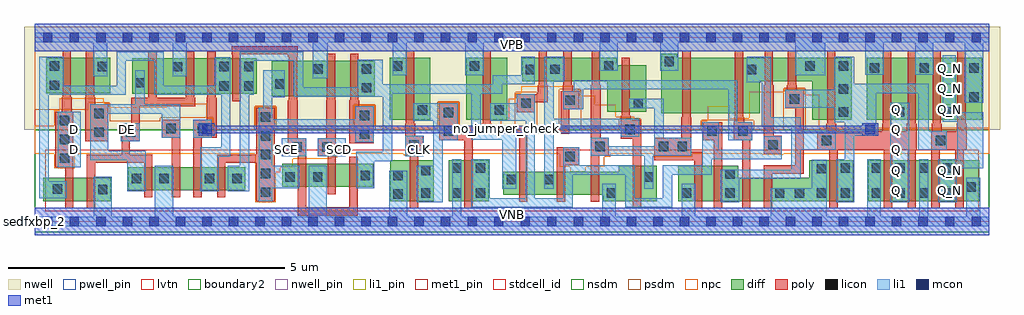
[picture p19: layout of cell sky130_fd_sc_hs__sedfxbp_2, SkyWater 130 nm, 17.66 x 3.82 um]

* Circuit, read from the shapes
.subckt sky130_fd_sc_hs__sedfxbp_2 CLK D DE Q Q_N SCD SCE VGND VNB VPB VPWR
XM1 n1 D n2 VNB sky130_fd_pr__nfet_01v8_lvt w=0.42 l=0.15
XM2 VGND DE n1 VNB sky130_fd_pr__nfet_01v8_lvt w=0.42 l=0.15
XM3 VGND DE n3 VNB sky130_fd_pr__nfet_01v8_lvt w=0.42 l=0.15
XM4 n4 n3 VGND VNB sky130_fd_pr__nfet_01v8_lvt w=0.42 l=0.15
XM5 n2 n5 n4 VNB sky130_fd_pr__nfet_01v8_lvt w=0.42 l=0.15
XM6 n6 n7 n2 VNB sky130_fd_pr__nfet_01v8_lvt w=0.42 l=0.15
XM7 VGND SCE n7 VNB sky130_fd_pr__nfet_01v8_lvt w=0.42 l=0.15
XM8 n8 SCD VGND VNB sky130_fd_pr__nfet_01v8_lvt w=0.42 l=0.15
XM9 n6 SCE n8 VNB sky130_fd_pr__nfet_01v8_lvt w=0.42 l=0.15
XM10 n9 CLK VGND VNB sky130_fd_pr__nfet_01v8_lvt w=0.74 l=0.15
XM11 n10 n9 VGND VNB sky130_fd_pr__nfet_01v8_lvt w=0.74 l=0.15
XM12 n11 n9 n6 VNB sky130_fd_pr__nfet_01v8_lvt w=0.42 l=0.15
XM13 n12 n10 n11 VNB sky130_fd_pr__nfet_01v8_lvt w=0.42 l=0.15
XM14 VGND n13 n12 VNB sky130_fd_pr__nfet_01v8_lvt w=0.42 l=0.15
XM15 n13 n11 VGND VNB sky130_fd_pr__nfet_01v8_lvt w=0.64 l=0.15
XM16 n14 n13 VGND VNB sky130_fd_pr__nfet_01v8_lvt w=0.64 l=0.15
XM17 n15 n10 n14 VNB sky130_fd_pr__nfet_01v8_lvt w=0.64 l=0.15
XM18 n16 n9 n15 VNB sky130_fd_pr__nfet_01v8_lvt w=0.42 l=0.15
XM19 VGND n5 n16 VNB sky130_fd_pr__nfet_01v8_lvt w=0.42 l=0.15
XM20 n5 n15 VGND VNB sky130_fd_pr__nfet_01v8_lvt w=0.74 l=0.15
XM21 Q n15 VGND VNB sky130_fd_pr__nfet_01v8_lvt w=0.74 l=0.15 m=2
XM22 Q_N n5 VGND VNB sky130_fd_pr__nfet_01v8_lvt w=0.74 l=0.15 m=2
XM23 n17 D n2 VPB sky130_fd_pr__pfet_01v8 w=0.64 l=0.15
XM24 VPWR n3 n17 VPB sky130_fd_pr__pfet_01v8 w=0.64 l=0.15
XM25 VPWR DE n3 VPB sky130_fd_pr__pfet_01v8 w=0.64 l=0.15
XM26 n18 DE VPWR VPB sky130_fd_pr__pfet_01v8 w=0.64 l=0.15
XM27 n2 n5 n18 VPB sky130_fd_pr__pfet_01v8 w=0.64 l=0.15
XM28 n6 SCE n2 VPB sky130_fd_pr__pfet_01v8 w=0.64 l=0.15
XM29 VPWR SCE n7 VPB sky130_fd_pr__pfet_01v8 w=0.64 l=0.15
XM30 n19 SCD VPWR VPB sky130_fd_pr__pfet_01v8 w=0.64 l=0.15
XM31 n6 n7 n19 VPB sky130_fd_pr__pfet_01v8 w=0.64 l=0.15
XM32 n9 CLK VPWR VPB sky130_fd_pr__pfet_01v8 w=1.12 l=0.15
XM33 n10 n9 VPWR VPB sky130_fd_pr__pfet_01v8 w=1.12 l=0.15
XM34 n11 n10 n6 VPB sky130_fd_pr__pfet_01v8 w=0.42 l=0.15
XM35 n20 n9 n11 VPB sky130_fd_pr__pfet_01v8 w=0.42 l=0.15
XM36 VPWR n13 n20 VPB sky130_fd_pr__pfet_01v8 w=0.42 l=0.15
XM37 n13 n11 VPWR VPB sky130_fd_pr__pfet_01v8 w=0.84 l=0.15
XM38 n21 n13 VPWR VPB sky130_fd_pr__pfet_01v8 w=1 l=0.15
XM39 n15 n9 n21 VPB sky130_fd_pr__pfet_01v8 w=1 l=0.15
XM40 n22 n10 n15 VPB sky130_fd_pr__pfet_01v8 w=0.42 l=0.15
XM41 VPWR n5 n22 VPB sky130_fd_pr__pfet_01v8 w=0.42 l=0.15
XM42 n5 n15 VPWR VPB sky130_fd_pr__pfet_01v8 w=1.12 l=0.15
XM43 Q n15 VPWR VPB sky130_fd_pr__pfet_01v8 w=1.12 l=0.15 m=2
XM44 Q_N n5 VPWR VPB sky130_fd_pr__pfet_01v8 w=1.12 l=0.15 m=2
.ends

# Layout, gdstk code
import gdstk
lib = gdstk.Library(unit=1e-6, precision=1e-09)
def R(c, l, rs):  # rectangles x0, y0, x1, y1
    for r in rs: c.add(gdstk.rectangle(r[:2], r[2:], *l))
def A(c, l, x, y, w, h, nx, ny, dx, dy):  # array of equal rectangles
    R(c, l, [(x+i*dx, y+j*dy, x+i*dx+w, y+j*dy+h) for i in range(nx) for j in range(ny)])
def P(c, l, *ps):  # polygons
    for p in ps: c.add(gdstk.Polygon(p, *l))
nwell_pin = (64, 16)
nwell = (64, 20)
diff = (65, 20)
poly = (66, 20)
licon = (66, 44)
li1_pin = (67, 16)
li1 = (67, 20)
mcon = (67, 44)
met1_pin = (68, 16)
met1 = (68, 20)
stdcell_id = (81, 4)
nsdm = (93, 44)
psdm = (94, 20)
npc = (95, 20)
pwell_pin = (122, 16)
lvtn = (125, 44)
boundary2 = (236, 0)

sky130_fd_sc_hs__sedfxbp = lib.new_cell('sky130_fd_sc_hs__sedfxbp_2')
R(sky130_fd_sc_hs__sedfxbp, nwell_pin, [(0,3.085,17.28,3.33)])
R(sky130_fd_sc_hs__sedfxbp, nwell, [(-0.19,1.66,17.47,3.52)])
R(sky130_fd_sc_hs__sedfxbp, diff, [(0.16,0.37,1.38,0.79), (6.435,0.37,7.225,1.11), (7.495,0.37,8.215,1.11), (15.085,0.37,17.095,1.11), (1.7,0.565,3.81,0.985), (4.48,0.625,6.13,1.045), (6.425,1.84,7.165,2.96), (7.815,1.84,8.555,2.96), (15.055,1.84,17.145,2.96), (4.295,2.265,6.155,2.905), (1.765,2.31,4.025,2.95), (0.215,2.32,1.375,2.96)])
P(sky130_fd_sc_hs__sedfxbp, diff, [(11.07,2.83),(10.535,2.83),(10.535,2.96),(8.825,2.96),(8.825,2.54),(10.36,2.54),(10.36,1.99),(11.07,1.99)],
  [(11.26,1.01),(10.575,1.01),(10.575,0.905),(8.485,0.905),(8.485,0.485),(10.29,0.485),(10.29,0.37),(11.26,0.37)],
  [(14.785,2.96),(11.63,2.96),(11.63,3.04),(11.34,3.04),(11.34,1.96),(13.12,1.96),(13.12,2.54),(14.075,2.54),(14.075,1.84),(14.785,1.84)],
  [(14.815,1.11),(14.015,1.11),(14.015,0.79),(12.73,0.79),(12.73,1.01),(11.65,1.01),(11.65,0.37),(14.815,0.37)])
P(sky130_fd_sc_hs__sedfxbp, poly, [(13.915,2.38),(13.795,2.38),(13.795,2.465),(13.78,2.465),(13.78,3.09),(13.63,3.09),(13.63,2.465),(13.615,2.465),(13.615,2.38),(13.585,2.38),(13.585,2.05),(13.765,2.05),(13.765,1.015),(13.195,1.015),(13.195,0.24),(13.345,0.24),(13.345,0.865),(13.915,0.865)],
  [(13.525,1.555),(13.375,1.555),(13.375,2.465),(13.36,2.465),(13.36,3.09),(13.21,3.09),(13.21,2.465),(13.195,2.465),(13.195,1.225),(13.525,1.225)],
  [(12.985,1.8),(12.84,1.8),(12.84,1.885),(12.825,1.885),(12.825,3.09),(12.675,3.09),(12.675,1.885),(12.66,1.885),(12.66,1.8),(12.655,1.8),(12.655,1.47),(12.805,1.47),(12.805,0.24),(12.955,0.24),(12.955,1.47),(12.985,1.47)],
  [(12.445,1.8),(12.095,1.8),(12.095,1.47),(12.295,1.47),(12.295,0.24),(12.445,0.24)],
  [(12.085,1.26),(11.885,1.26),(11.885,1.885),(11.87,1.885),(11.87,3.09),(11.72,3.09),(11.72,1.885),(11.705,1.885),(11.705,1.52),(11.215,1.52),(11.215,1.11),(11.935,1.11),(11.935,0.24),(12.085,0.24)],
  [(10.975,1.83),(10.79,1.83),(10.79,1.915),(10.775,1.915),(10.775,2.96),(10.625,2.96),(10.625,1.915),(10.61,1.915),(10.61,1.5),(10.825,1.5),(10.825,0.24),(10.975,0.24)],
  [(10.395,1.52),(10.245,1.52),(10.245,2.465),(10.23,2.465),(10.23,3.09),(10.08,3.09),(10.08,2.465),(10.065,2.465),(10.065,0.355),(10.215,0.355),(10.215,1.19),(10.395,1.19)],
  [(9.855,1.345),(9.45,1.345),(9.45,0.355),(9.6,0.355),(9.6,1.015),(9.855,1.015)],
  [(9.855,2.36),(9.735,2.36),(9.735,2.465),(9.72,2.465),(9.72,3.09),(9.57,3.09),(9.57,2.465),(9.555,2.465),(9.555,2.36),(9.525,2.36),(9.525,1.735),(8.275,1.735),(8.275,1.765),(8.26,1.765),(8.26,3.09),(8.11,3.09),(8.11,1.765),(8.095,1.765),(8.095,1.735),(7.655,1.735),(7.655,2.14),(7.325,2.14),(7.325,1.47),(7.78,1.47),(7.78,0.24),(7.93,0.24),(7.93,1.585),(8.77,1.585),(8.77,0.355),(8.92,0.355),(8.92,1.585),(9.675,1.585),(9.675,2.03),(9.855,2.03)],
  [(9.285,2.465),(9.27,2.465),(9.27,3.09),(9.12,3.09),(9.12,2.465),(9.105,2.465),(9.105,2.305),(8.725,2.305),(8.725,1.975),(9.055,1.975),(9.055,2.155),(9.285,2.155)],
  [(7.035,1.55),(6.885,1.55),(6.885,1.765),(6.87,1.765),(6.87,3.09),(6.72,3.09),(6.72,1.765),(6.705,1.765),(6.705,1.22),(6.79,1.22),(6.79,0.24),(6.94,0.24),(6.94,1.22),(7.035,1.22)],
  [(6.135,2.085),(5.875,2.085),(5.875,2.19),(5.86,2.19),(5.86,3.035),(5.71,3.035),(5.71,2.19),(5.695,2.19),(5.695,1.415),(6.135,1.415)],
  [(5.845,1.175),(5.695,1.175),(5.695,0.255),(4.915,0.255),(4.915,1.51),(4.765,1.51),(4.765,2.19),(4.75,2.19),(4.75,2.98),(4.765,2.98),(4.765,3.175),(3.565,3.175),(3.565,3.025),(3.58,3.025),(3.58,2.18),(3.73,2.18),(3.73,3.025),(4.585,3.025),(4.585,2.98),(4.6,2.98),(4.6,2.19),(4.585,2.19),(4.585,1.18),(4.765,1.18),(4.765,0.105),(5.845,0.105)],
  [(5.455,2.19),(5.44,2.19),(5.44,3.035),(5.29,3.035),(5.29,2.19),(5.275,2.19),(5.275,1.51),(5.125,1.51),(5.125,1.18),(5.305,1.18),(5.305,0.495),(5.455,0.495)],
  [(4.345,2.055),(4.015,2.055),(4.015,1.21),(3.305,1.21),(3.305,0.435),(3.455,0.435),(3.455,1.06),(4.015,1.06),(4.015,0.365),(4.345,0.365)],
  [(3.295,2.235),(3.28,2.235),(3.28,3.08),(3.13,3.08),(3.13,2.235),(3.115,2.235),(3.115,1.845),(2.875,1.845),(2.875,0.435),(3.025,0.435),(3.025,1.515),(3.295,1.515)],
  [(2.905,2.235),(2.89,2.235),(2.89,3.08),(2.74,3.08),(2.74,2.235),(2.21,2.235),(2.21,3.08),(2.06,3.08),(2.06,2.235),(1.755,2.235),(1.755,1.78),(1.575,1.78),(1.575,1.21),(0.945,1.21),(0.945,0.24),(1.095,0.24),(1.095,1.06),(1.985,1.06),(1.985,0.435),(2.135,0.435),(2.135,1.21),(1.725,1.21),(1.725,1.45),(1.905,1.45),(1.905,2.085),(2.905,2.085)],
  [(2.635,1.845),(2.305,1.845),(2.305,1.515),(2.485,1.515),(2.485,0.435),(2.635,0.435)],
  [(1.335,2.12),(1.095,2.12),(1.095,2.245),(1.08,2.245),(1.08,3.09),(0.93,3.09),(0.93,2.245),(0.915,2.245),(0.915,1.45),(1.335,1.45)],
  [(0.705,1.99),(0.675,1.99),(0.675,2.245),(0.66,2.245),(0.66,3.09),(0.51,3.09),(0.51,2.245),(0.495,2.245),(0.495,1.99),(0.375,1.99),(0.375,0.98),(0.555,0.98),(0.555,0.24),(0.705,0.24)],
  [(15.965,1.765),(15.95,1.765),(15.95,3.09),(15.8,3.09),(15.8,1.765),(15.785,1.765),(15.785,1.63),(15.515,1.63),(15.515,1.765),(15.5,1.765),(15.5,3.09),(15.35,3.09),(15.35,1.765),(15.335,1.765),(15.335,1.63),(14.505,1.63),(14.505,1.765),(14.49,1.765),(14.49,3.09),(14.34,3.09),(14.34,1.765),(14.325,1.765),(14.325,1.63),(14.165,1.63),(14.165,1.3),(14.38,1.3),(14.38,0.24),(14.53,0.24),(14.53,1.3),(15.37,1.3),(15.37,0.24),(15.52,0.24),(15.52,1.3),(15.8,1.3),(15.8,0.24),(15.95,0.24),(15.95,1.3),(15.965,1.3)],
  [(16.865,1.765),(16.85,1.765),(16.85,3.09),(16.7,3.09),(16.7,1.765),(16.685,1.765),(16.685,1.63),(16.415,1.63),(16.415,1.765),(16.4,1.765),(16.4,3.09),(16.25,3.09),(16.25,1.765),(16.235,1.765),(16.235,1.635),(16.23,1.635),(16.23,0.24),(16.38,0.24),(16.38,1.3),(16.66,1.3),(16.66,0.24),(16.81,0.24),(16.81,1.3),(16.865,1.3)])
A(sky130_fd_sc_hs__sedfxbp, licon, 15.145, 0.43, 0.17, 0.17, 4, 2, 0.43, 0.45)
A(sky130_fd_sc_hs__sedfxbp, licon, 4.095, 0.445, 0.17, 0.17, 1, 5, 0, 0.34)
A(sky130_fd_sc_hs__sedfxbp, licon, 0.455, 1.06, 0.17, 0.17, 1, 3, 0, 0.34)
A(sky130_fd_sc_hs__sedfxbp, licon, 14.555, 1.9, 0.17, 0.17, 1, 3, 0, 0.415)
A(sky130_fd_sc_hs__sedfxbp, licon, 15.115, 2.695, 0.17, 0.17, 3, 1, 0.9, 0)
R(sky130_fd_sc_hs__sedfxbp, licon, [(6.495,0.41,6.665,0.58), (6.995,0.43,7.165,0.6), (7.555,0.43,7.725,0.6), (7.985,0.43,8.155,0.6), (10.35,0.43,10.52,0.6), (11.71,0.43,11.88,0.6), (12.5,0.43,12.67,0.6), (13.4,0.43,13.57,0.6), (13.76,0.43,13.93,0.6), (14.155,0.43,14.325,0.6), (14.585,0.43,14.755,0.6), (1.15,0.495,1.32,0.665), (0.33,0.5,0.5,0.67), (16.865,0.54,17.035,0.71), (8.545,0.675,8.715,0.845), (9.225,0.675,9.395,0.845), (1.76,0.69,1.93,0.86), (2.26,0.69,2.43,0.86), (3.08,0.69,3.25,0.86), (3.58,0.69,3.75,0.86), (4.54,0.72,4.71,0.89), (5.04,0.72,5.21,0.89), (11.03,0.72,11.2,0.89), (5.9,0.75,6.07,0.92), (6.495,0.75,6.665,0.92), (12.5,0.77,12.67,0.94), (6.995,0.84,7.165,1.01), (14.155,0.87,14.325,1.04), (7.555,0.88,7.725,1.05), (7.985,0.88,8.155,1.05), (14.585,0.88,14.755,1.05), (9.605,1.095,9.775,1.265), (4.665,1.26,4.835,1.43), (5.205,1.26,5.375,1.43), (10.145,1.27,10.315,1.44), (11.295,1.27,11.465,1.44), (11.635,1.27,11.805,1.44), (6.785,1.3,6.955,1.47), (13.275,1.305,13.445,1.475), (14.245,1.38,14.415,1.55), (16.31,1.38,16.48,1.55), (5.885,1.495,6.055,1.665), (1.085,1.53,1.255,1.7), (1.655,1.53,1.825,1.7), (7.405,1.55,7.575,1.72), (12.175,1.55,12.345,1.72), (12.735,1.55,12.905,1.72), (10.69,1.58,10.86,1.75), (2.385,1.595,2.555,1.765), (2.955,1.595,3.125,1.765), (5.885,1.835,6.055,2.005), (1.085,1.87,1.255,2.04), (7.405,1.89,7.575,2.06), (15.565,1.9,15.735,2.07), (16.465,1.9,16.635,2.07), (6.935,1.935,7.105,2.105), (8.325,1.935,8.495,2.105), (10.84,2.05,11.01,2.22), (8.805,2.055,8.975,2.225), (9.605,2.11,9.775,2.28), (13.665,2.13,13.835,2.3), (16.915,2.165,17.085,2.335), (5.925,2.335,6.095,2.505), (3.345,2.37,3.515,2.54), (3.795,2.37,3.965,2.54), (0.275,2.38,0.445,2.55), (4.355,2.405,4.525,2.575), (1.825,2.425,1.995,2.595), (8.885,2.665,9.055,2.835), (12.89,2.665,13.06,2.835), (9.335,2.67,9.505,2.84), (5.045,2.675,5.215,2.845), (5.925,2.675,6.095,2.845), (2.505,2.715,2.675,2.885), (1.145,2.72,1.315,2.89), (3.345,2.72,3.515,2.89), (3.795,2.72,3.965,2.89), (0.275,2.73,0.445,2.9), (6.485,2.73,6.655,2.9), (7.875,2.73,8.045,2.9), (10.305,2.73,10.475,2.9), (13.95,2.73,14.12,2.9), (11.4,2.81,11.57,2.98)])
A(sky130_fd_sc_hs__sedfxbp, li1_pin, 15.515, 0.47, 0.17, 0.17, 1, 5, 0, 0.37)
A(sky130_fd_sc_hs__sedfxbp, li1_pin, 16.475, 1.95, 0.17, 0.17, 1, 3, 0, 0.37)
R(sky130_fd_sc_hs__sedfxbp, li1_pin, [(16.475,0.47,16.645,0.64), (16.475,0.84,16.645,1.01), (0.635,1.21,0.805,1.38), (4.475,1.21,4.645,1.38), (5.435,1.21,5.605,1.38), (6.875,1.21,7.045,1.38), (0.635,1.58,0.805,1.75), (1.595,1.58,1.765,1.75)])
R(sky130_fd_sc_hs__sedfxbp, li1, [(15.485,0.35,15.825,2.15), (0.425,0.98,0.835,1.99), (4.475,1.18,4.915,1.51), (5.125,1.18,5.635,1.51), (6.705,1.18,7.045,1.55), (1.565,1.45,1.905,1.78), (2.875,1.515,3.205,1.845)])
P(sky130_fd_sc_hs__sedfxbp, li1, [(17.165,1.975),(16.665,1.975),(16.665,3.01),(16.435,3.01),(16.435,1.805),(16.7,1.805),(16.7,1.13),(16.355,1.13),(16.355,0.35),(16.685,0.35),(16.685,0.96),(17.165,0.96)],
  [(16.51,1.635),(16.185,1.635),(16.185,2.49),(14.835,2.49),(14.835,2.98),(14.475,2.98),(14.475,2.38),(13.585,2.38),(13.585,2.055),(14.475,2.055),(14.475,1.8),(14.665,1.8),(14.665,1.13),(14.505,1.13),(14.505,0.35),(14.835,0.35),(14.835,1.55),(15.235,1.55),(15.235,2.32),(15.995,2.32),(15.995,1.3),(16.51,1.3)],
  [(2.635,2.12),(1.995,2.12),(1.995,2.735),(1.825,2.735),(1.825,2.12),(1.005,2.12),(1.005,1.11),(1.68,1.11),(1.68,0.545),(2.01,0.545),(2.01,1.28),(1.335,1.28),(1.335,1.95),(2.305,1.95),(2.305,1.515),(2.635,1.515)],
  [(3.545,2.97),(3.265,2.97),(3.265,2.46),(2.335,2.46),(2.335,3.075),(1.485,3.075),(1.485,2.46),(0.525,2.46),(0.525,2.98),(0.085,2.98),(0.085,0.42),(0.58,0.42),(0.58,0.73),(0.255,0.73),(0.255,2.29),(1.655,2.29),(1.655,2.905),(2.165,2.905),(2.165,2.29),(3.375,2.29),(3.375,1.345),(3,1.345),(3,0.545),(3.33,0.545),(3.33,1.175),(3.545,1.175)],
  [(6.135,2.085),(5.805,2.085),(5.805,1.85),(4.305,1.85),(4.305,2.245),(4.525,2.245),(4.525,2.735),(4.135,2.735),(4.135,2.055),(4.055,2.055),(4.055,0.365),(4.305,0.365),(4.305,0.605),(4.79,0.605),(4.79,1.01),(4.305,1.01),(4.305,1.68),(5.805,1.68),(5.805,1.43),(6.135,1.43)],
  [(7.655,2.14),(6.855,2.14),(6.855,1.82),(7.215,1.82),(7.215,1.01),(6.915,1.01),(6.915,0.35),(7.385,0.35),(7.385,1.47),(7.655,1.47)],
  [(17.28,0.085),(17.115,0.085),(17.115,0.79),(16.855,0.79),(16.855,0.085),(16.175,0.085),(16.175,1.13),(16.005,1.13),(16.005,0.085),(15.315,0.085),(15.315,1.13),(15.065,1.13),(15.065,0.085),(14.335,0.085),(14.335,1.12),(14.065,1.12),(14.065,0.6),(13.32,0.6),(13.32,0.085),(11.96,0.085),(11.96,0.68),(11.71,0.68),(11.71,0.085),(10.52,0.085),(10.52,0.68),(10.27,0.68),(10.27,0.085),(7.725,0.085),(7.725,1.13),(7.555,1.13),(7.555,0.085),(6.745,0.085),(6.745,0.92),(6.415,0.92),(6.415,0.085),(5.29,0.085),(5.29,1.01),(4.96,1.01),(4.96,0.085),(2.51,0.085),(2.51,1.005),(2.18,1.005),(2.18,0.085),(1.4,0.085),(1.4,0.81),(1.07,0.81),(1.07,0.085),(0,0.085),(0,-0.085),(17.28,-0.085)],
  [(9.055,2.98),(8.805,2.98),(8.805,2.65),(8.295,2.65),(8.295,2.48),(6.305,2.48),(6.305,2.925),(5.845,2.925),(5.845,2.425),(4.865,2.425),(4.865,3.075),(3.715,3.075),(3.715,1.005),(3.5,1.005),(3.5,0.545),(3.885,0.545),(3.885,2.29),(3.965,2.29),(3.965,2.905),(4.695,2.905),(4.695,2.255),(6.305,2.255),(6.305,1.26),(5.82,1.26),(5.82,0.605),(6.15,0.605),(6.15,1.09),(6.475,1.09),(6.475,2.31),(7.905,2.31),(7.905,1.48),(8.465,1.48),(8.465,0.595),(8.715,0.595),(8.715,1.65),(8.075,1.65),(8.075,2.31),(8.465,2.31),(8.465,2.48),(9.055,2.48)],
  [(10.94,1.86),(9.395,1.86),(9.395,2.53),(9.585,2.53),(9.585,2.98),(9.225,2.98),(9.225,0.595),(9.395,0.595),(9.395,1.69),(10.61,1.69),(10.61,1.53),(10.94,1.53)],
  [(11.885,1.52),(11.385,1.52),(11.385,2.22),(10.76,2.22),(10.76,2.05),(11.215,2.05),(11.215,1.36),(10.395,1.36),(10.395,1.52),(10.065,1.52),(10.065,1.19),(11.03,1.19),(11.03,0.595),(11.2,0.595),(11.2,1.19),(11.885,1.19)],
  [(12.985,1.8),(12.72,1.8),(12.72,2.56),(9.755,2.56),(9.755,2.36),(9.565,2.36),(9.565,2.03),(9.925,2.03),(9.925,2.39),(12.55,2.39),(12.55,1.47),(12.985,1.47)],
  [(13.525,1.545),(13.195,1.545),(13.195,1.3),(12.38,1.3),(12.38,1.8),(12.08,1.8),(12.08,1.02),(11.37,1.02),(11.37,0.425),(10.86,0.425),(10.86,1.02),(9.855,1.02),(9.855,1.345),(9.565,1.345),(9.565,0.425),(9.055,0.425),(9.055,2.305),(8.725,2.305),(8.725,2.14),(8.245,2.14),(8.245,1.82),(8.885,1.82),(8.885,0.425),(8.235,0.425),(8.235,1.13),(7.905,1.13),(7.905,0.255),(9.735,0.255),(9.735,0.85),(10.69,0.85),(10.69,0.255),(11.54,0.255),(11.54,0.85),(12.25,0.85),(12.25,1.13),(13.525,1.13)],
  [(14.495,1.63),(13.865,1.63),(13.865,1.885),(13.325,1.885),(13.325,2.98),(12.89,2.98),(12.89,2.52),(13.155,2.52),(13.155,1.715),(13.695,1.715),(13.695,0.94),(12.42,0.94),(12.42,0.35),(12.75,0.35),(12.75,0.77),(13.865,0.77),(13.865,1.3),(14.495,1.3)],
  [(17.28,3.415),(0,3.415),(0,3.245),(1.065,3.245),(1.065,2.63),(1.315,2.63),(1.315,3.245),(2.505,3.245),(2.505,2.63),(2.755,2.63),(2.755,3.245),(5.035,3.245),(5.035,2.595),(5.305,2.595),(5.305,3.245),(6.485,3.245),(6.485,2.65),(6.735,2.65),(6.735,3.245),(7.795,3.245),(7.795,2.65),(8.125,2.65),(8.125,3.245),(10.225,3.245),(10.225,2.73),(10.555,2.73),(10.555,3.245),(11.32,3.245),(11.32,2.73),(11.65,2.73),(11.65,3.245),(13.765,3.245),(13.765,2.65),(14.305,2.65),(14.305,3.245),(15.035,3.245),(15.035,2.66),(15.365,2.66),(15.365,3.245),(15.935,3.245),(15.935,2.66),(16.265,2.66),(16.265,3.245),(16.835,3.245),(16.835,2.145),(17.165,2.145),(17.165,3.245),(17.28,3.245)])
A(sky130_fd_sc_hs__sedfxbp, mcon, 0.155, -0.085, 0.17, 0.17, 36, 2, 0.48, 3.33)
R(sky130_fd_sc_hs__sedfxbp, mcon, [(3.035,1.58,3.205,1.75), (15.035,1.58,15.205,1.75)])
R(sky130_fd_sc_hs__sedfxbp, met1_pin, [(0,0,17.28,0.245), (0,3.085,17.28,3.33)])
R(sky130_fd_sc_hs__sedfxbp, met1, [(0,-0.245,17.28,0.245), (0,3.085,17.28,3.575)])
P(sky130_fd_sc_hs__sedfxbp, met1, [(15.265,1.78),(14.975,1.78),(14.975,1.735),(3.265,1.735),(3.265,1.78),(2.975,1.78),(2.975,1.55),(3.265,1.55),(3.265,1.595),(14.975,1.595),(14.975,1.55),(15.265,1.55)])
R(sky130_fd_sc_hs__sedfxbp, stdcell_id, [(0,0,17.28,3.33)])
R(sky130_fd_sc_hs__sedfxbp, nsdm, [(0,-0.19,17.28,1.66)])
P(sky130_fd_sc_hs__sedfxbp, psdm, [(17.28,3.52),(0,3.52),(0,2.02),(0.975,2.02),(0.975,2.15),(1.365,2.15),(1.365,1.81),(2.275,1.81),(2.275,1.875),(3.235,1.875),(3.235,1.66),(3.985,1.66),(3.985,2.085),(4.375,2.085),(4.375,1.66),(5.775,1.66),(5.775,2.115),(6.165,2.115),(6.165,1.66),(7.295,1.66),(7.295,2.17),(7.685,2.17),(7.685,1.66),(8.695,1.66),(8.695,2.335),(9.085,2.335),(9.085,1.66),(9.495,1.66),(9.495,2.39),(9.885,2.39),(9.885,1.66),(10.58,1.66),(10.58,1.86),(10.97,1.86),(10.97,1.66),(12.065,1.66),(12.065,1.83),(13.015,1.83),(13.015,1.66),(13.555,1.66),(13.555,2.41),(13.945,2.41),(13.945,1.66),(17.28,1.66)])
P(sky130_fd_sc_hs__sedfxbp, npc, [(17.28,1.7),(14.2,1.7),(14.2,2.295),(13.935,2.295),(13.935,2.4),(13.565,2.4),(13.565,2.35),(12.93,2.35),(12.93,1.87),(12.57,1.87),(12.57,2.085),(12.18,2.085),(12.18,1.82),(12.075,1.82),(12.075,1.73),(10.96,1.73),(10.96,1.85),(10.855,1.85),(10.855,1.9),(10.52,1.9),(10.52,2.115),(10.14,2.115),(10.14,2.275),(9.875,2.275),(9.875,2.38),(9.77,2.38),(9.77,2.45),(8.81,2.45),(8.81,2.325),(8.705,2.325),(8.705,2.22),(8.585,2.22),(8.585,1.845),(8.44,1.845),(8.44,1.7),(7.675,1.7),(7.675,2.16),(7.305,2.16),(7.305,1.7),(6.285,1.7),(6.285,1.73),(6.155,1.73),(6.155,2.105),(5.785,2.105),(5.785,1.73),(4.365,1.73),(4.365,2.075),(3.995,2.075),(3.995,1.73),(3.225,1.73),(3.225,1.865),(3.12,1.865),(3.12,2.13),(2.39,2.13),(2.39,2.065),(1.355,2.065),(1.355,2.14),(1.25,2.14),(1.25,2.23),(0.46,2.23),(0.46,2.01),(0.355,2.01),(0.355,1.73),(0,1.73),(0,1.23),(0.355,1.23),(0.355,0.96),(0.725,0.96),(0.725,1.23),(3.995,1.23),(3.995,0.345),(4.365,0.345),(4.365,0.895),(4.45,0.895),(4.45,0.98),(4.675,0.98),(4.675,1.135),(5.37,1.135),(5.37,1.16),(5.475,1.16),(5.475,1.23),(6.685,1.23),(6.685,1.2),(7.055,1.2),(7.055,1.23),(9.505,1.23),(9.505,0.995),(9.69,0.995),(9.69,0.905),(9.975,0.905),(9.975,0.995),(10.31,0.995),(10.31,1.17),(10.415,1.17),(10.415,1.23),(11.195,1.23),(11.195,1.17),(11.905,1.17),(11.905,1.23),(13.175,1.23),(13.175,1.205),(13.545,1.205),(13.545,1.23),(17.28,1.23)])
R(sky130_fd_sc_hs__sedfxbp, pwell_pin, [(0,0,17.28,0.245)])
R(sky130_fd_sc_hs__sedfxbp, lvtn, [(0.19,0.19,17.09,1.3)])
R(sky130_fd_sc_hs__sedfxbp, boundary2, [(0,0,17.28,3.33)])
sky130_fd_sc_hs__sedfxbp.add(gdstk.Label('sedfxbp_2', (0,0), layer=83, texttype=44))
sky130_fd_sc_hs__sedfxbp.add(gdstk.Label('no_jumper_check', (8.54,1.685), layer=83, texttype=44))
sky130_fd_sc_hs__sedfxbp.add(gdstk.Label('VNB', (8.64,0.123), layer=64, texttype=59))
sky130_fd_sc_hs__sedfxbp.add(gdstk.Label('VPB', (8.64,3.208), layer=64, texttype=5))
sky130_fd_sc_hs__sedfxbp.add(gdstk.Label('VPWR', (8.64,3.208), layer=68, texttype=5))
sky130_fd_sc_hs__sedfxbp.add(gdstk.Label('VGND', (8.64,0.123), layer=68, texttype=5))
sky130_fd_sc_hs__sedfxbp.add(gdstk.Label('Q', (15.6,0.555), layer=67, texttype=5))
sky130_fd_sc_hs__sedfxbp.add(gdstk.Label('Q', (15.6,0.925), layer=67, texttype=5))
sky130_fd_sc_hs__sedfxbp.add(gdstk.Label('Q', (15.6,1.295), layer=67, texttype=5))
sky130_fd_sc_hs__sedfxbp.add(gdstk.Label('Q', (15.6,1.665), layer=67, texttype=5))
sky130_fd_sc_hs__sedfxbp.add(gdstk.Label('Q', (15.6,2.035), layer=67, texttype=5))
sky130_fd_sc_hs__sedfxbp.add(gdstk.Label('Q_N', (16.56,0.555), layer=67, texttype=5))
sky130_fd_sc_hs__sedfxbp.add(gdstk.Label('Q_N', (16.56,0.925), layer=67, texttype=5))
sky130_fd_sc_hs__sedfxbp.add(gdstk.Label('Q_N', (16.56,2.035), layer=67, texttype=5))
sky130_fd_sc_hs__sedfxbp.add(gdstk.Label('Q_N', (16.56,2.405), layer=67, texttype=5))
sky130_fd_sc_hs__sedfxbp.add(gdstk.Label('Q_N', (16.56,2.775), layer=67, texttype=5))
sky130_fd_sc_hs__sedfxbp.add(gdstk.Label('D', (0.72,1.295), layer=67, texttype=5))
sky130_fd_sc_hs__sedfxbp.add(gdstk.Label('D', (0.72,1.665), layer=67, texttype=5))
sky130_fd_sc_hs__sedfxbp.add(gdstk.Label('CLK', (6.96,1.295), layer=67, texttype=5))
sky130_fd_sc_hs__sedfxbp.add(gdstk.Label('SCD', (5.52,1.295), layer=67, texttype=5))
sky130_fd_sc_hs__sedfxbp.add(gdstk.Label('SCE', (4.56,1.295), layer=67, texttype=5))
sky130_fd_sc_hs__sedfxbp.add(gdstk.Label('DE', (1.68,1.665), layer=67, texttype=5))

lib.write_gds('sky130_fd_sc_hs__sedfxbp_2.gds')
